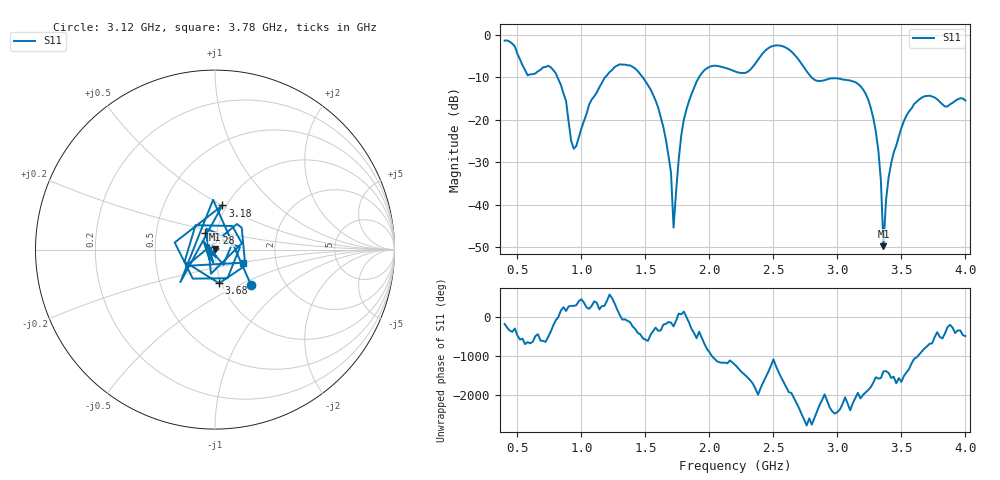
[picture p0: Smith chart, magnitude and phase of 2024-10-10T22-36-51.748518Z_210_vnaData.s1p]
! Created with skrf (http://scikit-rf.org).
# Hz S RI R 50.0
!freq ReS11 ImS11
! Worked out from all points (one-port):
!   181 points, 400 MHz to 4 GHz, reference 50 ohm
!   lowest |S11| = -49.8 dB at 3.36 GHz (marker M1), VSWR 1.01, Z = 50.2 + j0.255 ohm
!   |S11| at or under -10 dB: 813.4 MHz to 1.185 GHz (371.5 MHz wide, 37.2 % of centre); 1.479 GHz to 1.918 GHz (439.1 MHz wide, 25.8 % of centre); 2.798 GHz to end of sweep
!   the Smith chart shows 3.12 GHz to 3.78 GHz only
!   S11 on the Smith chart (normalised r, x): 3.12 GHz: 1.36, -0.59; 3.18 GHz: 0.96, +0.50; 3.28 GHz: 0.88, +0.16; 3.68 GHz: 0.97, -0.38; 3.78 GHz: 1.36, -0.20
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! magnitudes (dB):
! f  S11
! 400 MHz  -1.3
! 580 MHz  -9.5
! 760 MHz  -7.6
! 860 MHz  -13.8
! 940 MHz  -26.8
! 1.08 GHz  -15.2
! 1.3 GHz  -6.9
! 1.6 GHz  -17.1
! 1.7 GHz  -32.5
! 1.72 GHz  -45.4
! 1.76 GHz  -29.4
! 1.8 GHz  -20.0
! 1.92 GHz  -9.9
! 2.2 GHz  -8.6
! 2.66 GHz  -4.5
! 2.82 GHz  -10.6
! 3.1 GHz  -10.7
! 3.12 GHz  -10.9
! 3.18 GHz  -12.1
! 3.28 GHz  -19.5
! 3.34 GHz  -34.5
! 3.36 GHz  -49.8
! 3.38 GHz  -39.0
! 3.42 GHz  -30.3
! 3.56 GHz  -18.0
! 3.68 GHz  -14.5
! 3.78 GHz  -15.2
! 4 GHz  -15.5
